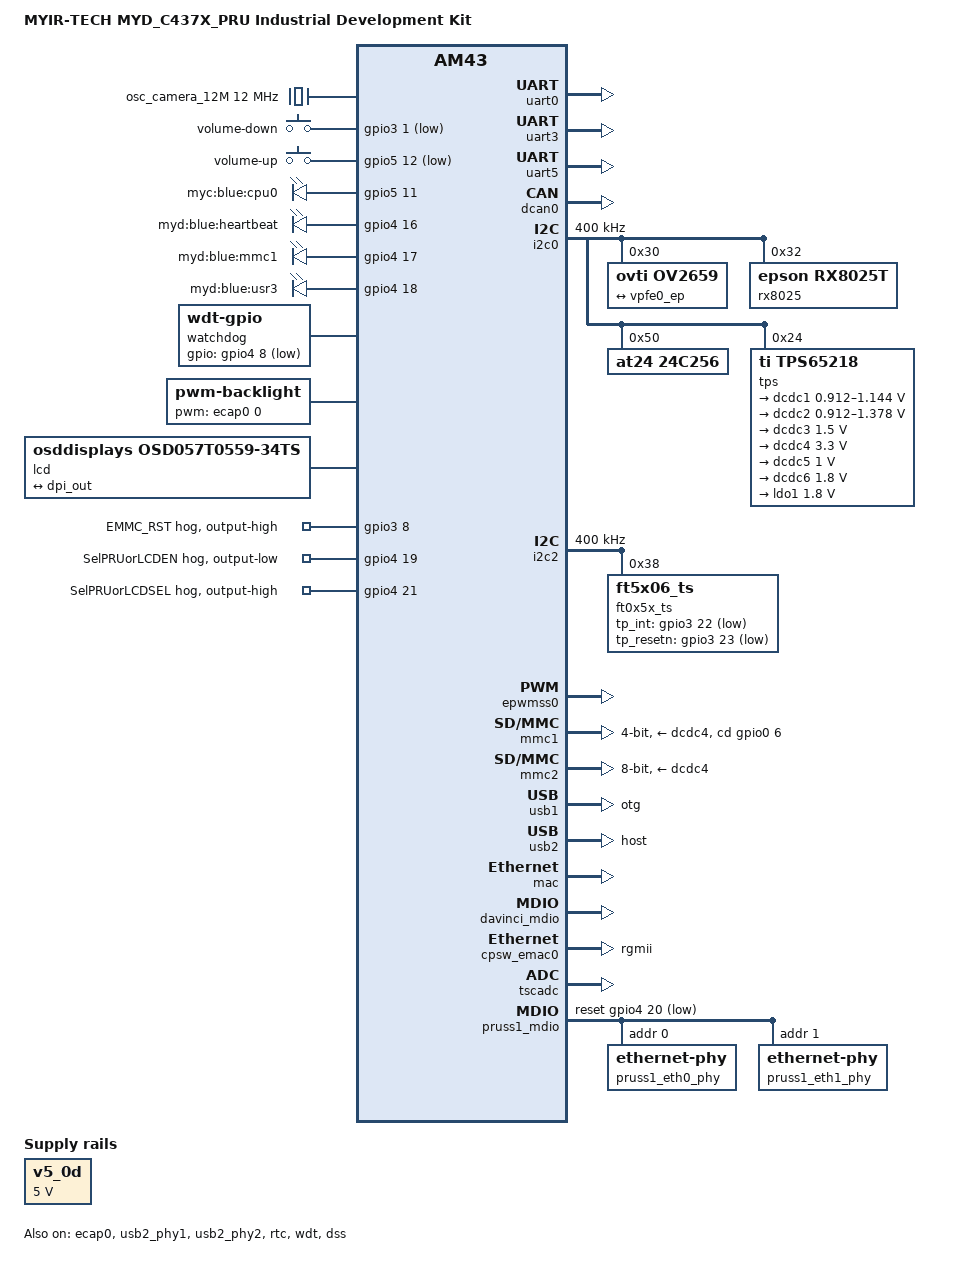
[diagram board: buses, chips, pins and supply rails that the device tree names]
/*
 * Copyright (C) 2014 Texas Instruments Incorporated - http://www.ti.com/
 *
 * This program is free software; you can redistribute it and/or modify
 * it under the terms of the GNU General Public License version 2 as
 * published by the Free Software Foundation.
 */

/dts-v1/;

#include "am4372.dtsi"
#include <dt-bindings/pinctrl/am43xx.h>
#include <dt-bindings/pwm/pwm.h>
#include <dt-bindings/gpio/gpio.h>
#include <dt-bindings/input/input.h>

/ {
	model = "MYIR-TECH MYD_C437X_PRU Industrial Development Kit";
	compatible = "ti,am437x-idk-evm","ti,am4372","ti,am43";

	aliases {
		display0 = &lcd0;
		ethernet2 = &pruss1_emac0;
		ethernet3 = &pruss1_emac1;
	};

	v5_0d: fixed-regulator-v5_0d {
		compatible = "regulator-fixed";
		regulator-name = "V5_0D";
		regulator-min-microvolt = <5000000>;
		regulator-max-microvolt = <5000000>;
		regulator-always-on;
		regulator-boot-on;
	};
	
	osc_camera_12M: osc_camera_12M {
	      #clock-cells = <0>;
	      compatible = "fixed-clock";
	      clock-frequency = <12000000>;
	};

	gpio_keys: volume_keys@0 {
		compatible = "gpio-keys";
//		pinctrl-names = "default";
//		pinctrl-0 = <&gpio_keys_pins_default>;
		#address-cells = <1>;
		#size-cells = <0>;
		autorepeat;

		switch@1 {
			label = "volume-down";
			linux,code = <114>;
			gpios = <&gpio3 1 GPIO_ACTIVE_LOW>;
			gpio-key,wakeup;
		};
		
		switch@2 {
			label = "volume-up";
			linux,code = <115>;
			gpios = <&gpio5 12 GPIO_ACTIVE_LOW>;
			gpio-key,wakeup;
		};		
	};

	leds {
		compatible = "gpio-leds";

		pinctrl-names = "default";
		pinctrl-0 = <&leds_pins>;
		led@0 {
			label = "myc:blue:cpu0";
			gpios = <&gpio5 11 GPIO_ACTIVE_HIGH>;	/* Bank 5, pin 11 */
			linux,default-trigger = "cpu0";
			default-state = "off";
		};

		led@1 {
			label = "myd:blue:heartbeat";
			gpios = <&gpio4 16 GPIO_ACTIVE_HIGH>;	/* Bank 4, pin 16 */
			linux,default-trigger = "heartbeat";
			default-state = "off";
		};

		led@2 {
			label = "myd:blue:mmc1";
			gpios = <&gpio4 17 GPIO_ACTIVE_HIGH>;	/* Bank 4, pin 17 */
			linux,default-trigger = "mmc0";
			default-state = "off";
		};


		led@3 {
			label = "myd:blue:usr3";
			gpios = <&gpio4 18 GPIO_ACTIVE_HIGH>;	/* Bank 4, pin 18 */
			default-state = "off";
		};
	};	

	watchdog: watchdog {
		/* CAT823T */
		compatible = "linux,wdt-gpio";
		pinctrl-names = "default";
		pinctrl-0 = <&watchdog_pins>;
		gpios = <&gpio4 8 GPIO_ACTIVE_LOW>;
		hw_algo = "toggle";
		always-running;
		hw_margin_ms = <1000>;
	};

	backlight {
		compatible = "pwm-backlight";
		pwms = <&ecap0 0 50000 PWM_POLARITY_INVERTED>;
		brightness-levels = <0 51 53 56 62 75 101 152 255>;
		default-brightness-level = <5>;
	};
	
	lcd0: display {
		compatible = "osddisplays,osd057T0559-34ts", "panel-dpi";
		label = "lcd";

		panel-timing {
			clock-frequency = <36000000>;
			hactive = <800>;
			vactive = <480>;
			hfront-porch = <210>;
			hback-porch = <1>;
			hsync-len = <43>;
			vback-porch = <1>;
			vfront-porch = <22>;
			vsync-len = <22>;
			hsync-active = <0>;
			vsync-active = <0>;
			de-active = <1>;
			pixelclk-active = <1>;
		};
		port {
			lcd_in: endpoint {
				remote-endpoint = <&dpi_out>;
			};
		};
	};
};

&am43xx_pinmux {
	pinctrl-names = "default", "sleep";
	pinctrl-0 = <&unused_pins_default  &gpio_keys_pins_default>;
	pinctrl-1 = <&unused_pins_sleep>;

    unused_pins_default: pinmux_unused_pins_default {
		pinctrl-single,pins = <
			0x2c4 ( PIN_INPUT_PULLDOWN | MUX_MODE7)  // usb1_drvvbus
			>;
        };

	unused_pins_sleep: pinmux_unused_pins_sleep {
		pinctrl-single,pins = <
			0x2c4 ( PIN_INPUT_PULLDOWN | MUX_MODE7)
			>;
        };

	gpio_keys_pins_default: gpio_keys_pins_default {
		pinctrl-single,pins = <
			0x10c ( PIN_INPUT_PULLUP | MUX_MODE7 ) /* (B14) mii1_crs.gpio3[1] */
			0x248 ( PIN_INPUT_PULLUP | MUX_MODE7 ) /* (E25) gpio5_12.gpio5[12] */
		>;
	};
	
	leds_pins: leds_pins {
		pinctrl-single,pins = <
			0x244 ( PIN_OUTPUT_PULLUP | MUX_MODE7 ) /* (F23) gpio5_11.gpio5[11] */
			0x1f0 ( PIN_OUTPUT_PULLUP | MUX_MODE7 ) /* (AD21) cam1_data2.gpio4[16] */
			0x1f4 ( PIN_OUTPUT_PULLUP | MUX_MODE7 ) /* (AE22) cam1_data3.gpio4[17] */
			0x1f8 ( PIN_OUTPUT_PULLUP | MUX_MODE7 ) /* (AD22) cam1_data4.gpio4[18] */
		>;
	};
	gpio3_pins: gpio3_pins_default {
		pinctrl-single,pins = <
		0x2a4 ( PIN_OUTPUT_PULLUP | MUX_MODE7 ) /* (N23) EMU1.gpio3[7] */
		0x2a8 ( PIN_OUTPUT | MUX_MODE7 ) /* (T24) EMU1.gpio3[8] */
		>;
	};

	gpio4_pins: gpio4_pins_default {
		pinctrl-single,pins = <
		0x1fc ( PIN_OUTPUT_PULLUP | MUX_MODE7 ) /* (AE23) cam1_data5.gpio4[19] */
		0x204 ( PIN_OUTPUT_PULLUP | MUX_MODE7 ) /* (AE24) cam1_data7.gpio4[21] */
		>;
	};
	
	watchdog_pins: pinmux_watchdog_pins{
		pinctrl-single,pins = <0x1d0 (PIN_OUTPUT_PULLDOWN | MUX_MODE7)>;
	};	
        
	i2c0_pins_default: i2c0_pins_default {
		pinctrl-single,pins = <
			0x188 (PIN_INPUT | SLEWCTRL_FAST | MUX_MODE0) /* i2c0_sda.i2c0_sda */
			0x18c (PIN_INPUT | SLEWCTRL_FAST | MUX_MODE0) /* i2c0_scl.i2c0_scl */
		>;
	};

	i2c0_pins_sleep: i2c0_pins_sleep {
		pinctrl-single,pins = <
			0x188 (PIN_INPUT_PULLDOWN | MUX_MODE7)
			0x18c (PIN_INPUT_PULLDOWN | MUX_MODE7)
		>;
	};

	i2c2_pins_default: i2c2_pins_default {
		pinctrl-single,pins = <
			0x1e8 (PIN_INPUT | SLEWCTRL_FAST | MUX_MODE3) /* cam1_data1.i2c2_scl */
			0x1ec (PIN_INPUT | SLEWCTRL_FAST | MUX_MODE3) /* cam1_data0.i2c2_sda */
		>;
	};

	i2c2_pins_sleep: i2c2_pins_sleep {
		pinctrl-single,pins = <
			0x1e8 (PIN_INPUT_PULLDOWN | MUX_MODE7)
			0x1ec (PIN_INPUT_PULLDOWN | MUX_MODE7)
		>;
	};

	uart0_pins_default: uart0_pins_default {
		pinctrl-single,pins = <
			0x170 ( PIN_INPUT | MUX_MODE0 ) /* (K25) uart0_rxd.uart0_rxd */
			0x174 ( PIN_OUTPUT | MUX_MODE0 ) /* (J24) uart0_txd.uart0_txd */
		>;
	};

	/* Optional sleep pin settings. Must manually enter values in the below skeleton. */
	uart0_pins_sleep: uart0_pins_sleep {
		pinctrl-single,pins = <
			0x170 (PIN_INPUT_PULLUP | MUX_MODE7 ) /* (K25) uart0_rxd.uart0_rxd */
			0x174 (PIN_INPUT_PULLUP | MUX_MODE7 ) /* (J24) uart0_txd.uart0_txd */
		>;
	};

	uart3_pins_default: uart3_pins_default {
		pinctrl-single,pins = <
			0x228 ( PIN_INPUT | MUX_MODE0 ) /* (H25) uart3_rxd.uart3_rxd */
			0x22c ( PIN_OUTPUT | MUX_MODE0 ) /* (H24) uart3_txd.uart3_txd */
			0x230 ( PIN_INPUT | MUX_MODE0 ) /* (H22) uart3_ctsn.uart3_ctsn */
			0x234 ( PIN_OUTPUT | MUX_MODE0 ) /* (K24) uart3_rtsn.uart3_rtsn */
		>;
	};

	/* Optional sleep pin settings. Must manually enter values in the below skeleton. */
	uart3_pins_sleep: uart3_pins_sleep {
		pinctrl-single,pins = <
			0x228 (PIN_INPUT_PULLUP | MUX_MODE7 ) /* (H25) uart3_rxd.uart3_rxd */
			0x22c (PIN_INPUT_PULLUP | MUX_MODE7 ) /* (H24) uart3_txd.uart3_txd */
			0x230 (PIN_INPUT_PULLUP | MUX_MODE7 ) /* (H22) uart3_ctsn.uart3_ctsn */
			0x234 (PIN_INPUT_PULLUP | MUX_MODE7 ) /* (K24) uart3_rtsn.uart3_rtsn */
		>;
	};
	
	uart5_pins_default: uart5_pins_default {
		pinctrl-single,pins = <
			0x110 ( PIN_OUTPUT | MUX_MODE7 ) /* (B13) mii1_rx_er.gpio3[2] */
			0x108 ( PIN_INPUT | MUX_MODE3 ) /* (D16) mii1_col.uart5_rxd */
			0x144 ( PIN_OUTPUT | MUX_MODE3 ) /* (A16) rmii1_ref_clk.uart5_txd */
		>;
	};

	/* Optional sleep pin settings. Must manually enter values in the below skeleton. */
	uart5_pins_sleep: uart5_pins_sleep {
		pinctrl-single,pins = <
			0x110 (PIN_INPUT_PULLUP | MUX_MODE7 ) /* (B13) mii1_rx_er.gpio3[2] */
			0x108 (PIN_INPUT_PULLUP | MUX_MODE7 ) /* (D16) mii1_col.uart5_rxd */
			0x144 (PIN_INPUT_PULLUP | MUX_MODE7 ) /* (A16) mii1_rx_dv.uart5_txd */
		>;
	};
	
	ft5x0x_pins_default: ft5x0x_pins_default {
		pinctrl-single,pins = <
			0x264 ( PIN_INPUT | MUX_MODE7 ) /* (P22) spi2_d0.gpio3[22] */
			0x268 ( PIN_OUTPUT_PULLUP | MUX_MODE7 ) /* (P20) spi2_d1.gpio3[23] */
		>;
	};

	dcan0_default: dcan0_default_pins {
		pinctrl-single,pins = <
			0x178 (PIN_OUTPUT | MUX_MODE2)		/* uart1_ctsn.d_can0_tx */
			0x17c (PIN_INPUT_PULLUP | MUX_MODE2)	/* uart1_rtsn.d_can0_rx */
		>;
	};

	dcan0_sleep: dcan0_sleep_pins {
		pinctrl-single,pins = <
			0x178 (PIN_INPUT_PULLUP | MUX_MODE7)	/* uart1_ctsn.gpio0_12 */
			0x17c (PIN_INPUT_PULLUP | MUX_MODE7)	/* uart1_rtsn.gpio0_13 */
		>;
	};


	usb1_pins_default: usb1_pins_default {
		pinctrl-single,pins = <
			0x2c0 (DS0_PULL_UP_DOWN_EN | PIN_INPUT_PULLDOWN | MUX_MODE0)
		>;
	};

	usb1_pins_sleep: usb1_pins_sleep {
		pinctrl-single,pins = <
			0x2c0 (DS0_PULL_UP_DOWN_EN | PIN_INPUT_PULLDOWN | MUX_MODE7)
		>;
	};
	
	mmc1_pins_default: pinmux_mmc1_pins_default {
		pinctrl-single,pins = <
			0x100 (PIN_INPUT | MUX_MODE0) /* mmc0_clk.mmc0_clk */
			0x104 (PIN_INPUT | MUX_MODE0) /* mmc0_cmd.mmc0_cmd */
			0xf0 (PIN_INPUT | MUX_MODE0) /* mmc0_dat3.mmc0_dat3 */
			0xf4 (PIN_INPUT | MUX_MODE0) /* mmc0_dat2.mmc0_dat2 */
			0xf8 (PIN_INPUT | MUX_MODE0) /* mmc0_dat1.mmc0_dat1 */
			0xfc (PIN_INPUT | MUX_MODE0) /* mmc0_dat0.mmc0_dat0 */
			0x160 (PIN_INPUT | MUX_MODE7) /* spi0_cs1.gpio0_6 */
		>;
	};

	mmc1_pins_sleep: pinmux_mmc1_pins_sleep {
		pinctrl-single,pins = <
			0x100 (PIN_INPUT_PULLDOWN | MUX_MODE7)
			0x104 (PIN_INPUT_PULLDOWN | MUX_MODE7)
			0xf0 (PIN_INPUT_PULLDOWN | MUX_MODE7)
			0xf4 (PIN_INPUT_PULLDOWN | MUX_MODE7)
			0xf8 (PIN_INPUT_PULLDOWN | MUX_MODE7)
			0xfc (PIN_INPUT_PULLDOWN | MUX_MODE7)
			0x160 (PIN_INPUT_PULLDOWN | MUX_MODE7)
		>;
	};

	emmc_pins_default: emmc_pins_default {
		pinctrl-single,pins = <
			0x80 ( PIN_INPUT_PULLUP | MUX_MODE2 ) /* (B9) gpmc_csn1.mmc1_clk */
			0x84 ( PIN_INPUT_PULLUP | MUX_MODE2 ) /* (F10) gpmc_csn2.mmc1_cmd */
			0x20 ( PIN_INPUT_PULLUP | MUX_MODE2 ) /* (B10) gpmc_ad8.mmc1_dat0 */
			0x24 ( PIN_INPUT_PULLUP | MUX_MODE2 ) /* (A10) gpmc_ad9.mmc1_dat1 */
			0x28 ( PIN_INPUT_PULLUP | MUX_MODE2 ) /* (F11) gpmc_ad10.mmc1_dat2 */
			0x2c ( PIN_INPUT_PULLUP | MUX_MODE2 ) /* (D11) gpmc_ad11.mmc1_dat3 */
			0x30 ( PIN_INPUT_PULLUP | MUX_MODE2 ) /* (E11) gpmc_ad12.mmc1_dat4 */
			0x34 ( PIN_INPUT_PULLUP | MUX_MODE2 ) /* (C11) gpmc_ad13.mmc1_dat5 */
			0x38 ( PIN_INPUT_PULLUP | MUX_MODE2 ) /* (B11) gpmc_ad14.mmc1_dat6 */
			0x3c ( PIN_INPUT_PULLUP | MUX_MODE2 ) /* (A11) gpmc_ad15.mmc1_dat7 */
		>;
	};

	emmc_pins_sleep: emmc_pins_sleep {
		pinctrl-single,pins = <
			0x80 (PIN_INPUT_PULLDOWN | MUX_MODE7) /* (B9) gpmc_csn1.mmc1_clk */
			0x84 (PIN_INPUT_PULLDOWN | MUX_MODE7) /* (F10) gpmc_csn2.mmc1_cmd */
			0x20 (PIN_INPUT_PULLDOWN | MUX_MODE7) /* (B10) gpmc_ad8.mmc1_dat0 */
			0x24 (PIN_INPUT_PULLDOWN | MUX_MODE7) /* (A10) gpmc_ad9.mmc1_dat1 */
			0x28 (PIN_INPUT_PULLDOWN | MUX_MODE7) /* (F11) gpmc_ad10.mmc1_dat2 */
			0x2c (PIN_INPUT_PULLDOWN | MUX_MODE7) /* (D11) gpmc_ad11.mmc1_dat3 */
			0x30 (PIN_INPUT_PULLDOWN | MUX_MODE7) /* (E11) gpmc_ad12.mmc1_dat4 */
			0x34 (PIN_INPUT_PULLDOWN | MUX_MODE7) /* (C11) gpmc_ad13.mmc1_dat5 */
			0x38 (PIN_INPUT_PULLDOWN | MUX_MODE7) /* (B11) gpmc_ad14.mmc1_dat6 */
			0x3c (PIN_INPUT_PULLDOWN | MUX_MODE7) /* (A11) gpmc_ad15.mmc1_dat7 */
		>;
	};


	ecap0_pins_default: backlight_pins_default {
		pinctrl-single,pins = <
			0x164 (PIN_OUTPUT | MUX_MODE0) /* ecap0_in_pwm0_out.ecap0_in_pwm0_out */
		>;
	};

	cpsw_default: cpsw_default {
		pinctrl-single,pins = <
			0x12c (PIN_OUTPUT_PULLDOWN | MUX_MODE2)	/* mii1_txclk.rgmii1_tclk */
			0x114 (PIN_OUTPUT_PULLDOWN | MUX_MODE2)	/* mii1_txen.rgmii1_tctl */
			0x128 (PIN_OUTPUT_PULLDOWN | MUX_MODE2)	/* mii1_txd0.rgmii1_td0 */
			0x124 (PIN_OUTPUT_PULLDOWN | MUX_MODE2)	/* mii1_txd1.rgmii1_td1 */
			0x120 (PIN_OUTPUT_PULLDOWN | MUX_MODE2)	/* mii1_txd0.rgmii1_td2 */
			0x11c (PIN_OUTPUT_PULLDOWN | MUX_MODE2)	/* mii1_txd1.rgmii1_td3 */
			0x130 (PIN_INPUT_PULLDOWN | MUX_MODE2)	/* mii1_rxclk.rmii1_rclk */
			0x118 (PIN_INPUT_PULLDOWN | MUX_MODE2)	/* mii1_rxdv.rgmii1_rctl */
			0x140 (PIN_INPUT_PULLDOWN | MUX_MODE2)	/* mii1_rxd0.rgmii1_rd0 */
			0x13c (PIN_INPUT_PULLDOWN | MUX_MODE2)	/* mii1_rxd1.rgmii1_rd1 */
			0x138 (PIN_INPUT_PULLDOWN | MUX_MODE2)	/* mii1_rxd0.rgmii1_rd2 */
			0x134 (PIN_INPUT_PULLDOWN | MUX_MODE2)	/* mii1_rxd1.rgmii1_rd3 */
		>;
	};

	cpsw_sleep: cpsw_sleep {
		pinctrl-single,pins = <
			0x12c (PIN_INPUT_PULLDOWN | MUX_MODE7)
			0x114 (PIN_INPUT_PULLDOWN | MUX_MODE7)
			0x128 (PIN_INPUT_PULLDOWN | MUX_MODE7)
			0x124 (PIN_INPUT_PULLDOWN | MUX_MODE7)
			0x120 (PIN_INPUT_PULLDOWN | MUX_MODE7)
			0x11c (PIN_INPUT_PULLDOWN | MUX_MODE7)
			0x130 (PIN_INPUT_PULLDOWN | MUX_MODE7)
			0x118 (PIN_INPUT_PULLDOWN | MUX_MODE7)
			0x140 (PIN_INPUT_PULLDOWN | MUX_MODE7)
			0x13c (PIN_INPUT_PULLDOWN | MUX_MODE7)
			0x138 (PIN_INPUT_PULLDOWN | MUX_MODE7)
			0x134 (PIN_INPUT_PULLDOWN | MUX_MODE7)
		>;
	};

	davinci_mdio_default: davinci_mdio_default {
		pinctrl-single,pins = <
			/* MDIO */
			0x148 (PIN_INPUT_PULLUP | SLEWCTRL_FAST | MUX_MODE0)	/* mdio_data.mdio_data */
			0x14c (PIN_OUTPUT_PULLUP | MUX_MODE0)			/* mdio_clk.mdio_clk */
		>;
	};

	davinci_mdio_sleep: davinci_mdio_sleep {
		pinctrl-single,pins = <
			/* MDIO reset value */
			0x148 (PIN_INPUT_PULLDOWN | MUX_MODE7)
			0x14c (PIN_INPUT_PULLDOWN | MUX_MODE7)
		>;
	};
	
	dss_pinctrl_default: dss_pinctrl_default {
		pinctrl-single,pins = <
			0x0A0 (PIN_OUTPUT_PULLUP | MUX_MODE0) /* DSS DATA 0 */
			0x0A4 (PIN_OUTPUT_PULLUP | MUX_MODE0)
			0x0A8 (PIN_OUTPUT_PULLUP | MUX_MODE0)
			0x0AC (PIN_OUTPUT_PULLUP | MUX_MODE0)
			0x0B0 (PIN_OUTPUT_PULLUP | MUX_MODE0)
			0x0B4 (PIN_OUTPUT_PULLUP | MUX_MODE0)
			0x0B8 (PIN_OUTPUT_PULLUP | MUX_MODE0)
			0x0BC (PIN_OUTPUT_PULLUP | MUX_MODE0)
			0x0C0 (PIN_OUTPUT_PULLUP | MUX_MODE0)
			0x0C4 (PIN_OUTPUT_PULLUP | MUX_MODE0)
			0x0C8 (PIN_OUTPUT_PULLUP | MUX_MODE0)
			0x0CC (PIN_OUTPUT_PULLUP | MUX_MODE0)
			0x0D0 (PIN_OUTPUT_PULLUP | MUX_MODE0)
			0x0D4 (PIN_OUTPUT_PULLUP | MUX_MODE0)
			0x0D8 (PIN_OUTPUT_PULLUP | MUX_MODE0)
			0x0DC (PIN_OUTPUT_PULLUP | MUX_MODE0) /* DSS DATA 15 */
			0x1CC (PIN_OUTPUT_PULLUP | MUX_MODE2) /* DSS DATA 16 */
			0x1C8 (PIN_OUTPUT_PULLUP | MUX_MODE2)
			0x1C4 (PIN_OUTPUT_PULLUP | MUX_MODE2)
			0x1C0 (PIN_OUTPUT_PULLUP | MUX_MODE2)
			0x1BC (PIN_OUTPUT_PULLUP | MUX_MODE2)
			0x1B8 (PIN_OUTPUT_PULLUP | MUX_MODE2)
			0x1B4 (PIN_OUTPUT_PULLUP | MUX_MODE2)
			0x1B0 (PIN_OUTPUT_PULLUP | MUX_MODE2) /* DSS DATA 23 */
			
			0x0E0 (PIN_OUTPUT_PULLUP | MUX_MODE0) /* DSS VSYNC */
			0x0E4 (PIN_OUTPUT_PULLUP | MUX_MODE0) /* DSS HSYNC */
			0x0E8 (PIN_OUTPUT_PULLUP | MUX_MODE0) /* DSS PCLK */
			0x0EC (PIN_OUTPUT_PULLUP | MUX_MODE0) /* DSS AC BIAS EN */
			0x238 (PIN_OUTPUT_PULLUP | MUX_MODE7) /* GPIO 5_8 to select LCD / HDMI */
		>;
	};

	dss_pinctrl_sleep: dss_pinctrl_sleep {
		pinctrl-single,pins = <
			0x0A0 (DS0_FORCE_OFF_MODE | DS0_PULL_UP_DOWN_EN | INPUT_EN | MUX_MODE7)
			0x0A4 (DS0_FORCE_OFF_MODE | DS0_PULL_UP_DOWN_EN | INPUT_EN | MUX_MODE7)
			0x0A8 (DS0_FORCE_OFF_MODE | DS0_PULL_UP_DOWN_EN | INPUT_EN | MUX_MODE7)
			0x0AC (DS0_FORCE_OFF_MODE | DS0_PULL_UP_DOWN_EN | INPUT_EN | MUX_MODE7)
			0x0B0 (DS0_FORCE_OFF_MODE | DS0_PULL_UP_DOWN_EN | INPUT_EN | MUX_MODE7)
			0x0B4 (DS0_FORCE_OFF_MODE | DS0_PULL_UP_DOWN_EN | INPUT_EN | MUX_MODE7)
			0x0B8 (DS0_FORCE_OFF_MODE | DS0_PULL_UP_DOWN_EN | INPUT_EN | MUX_MODE7)
			0x0BC (DS0_FORCE_OFF_MODE | DS0_PULL_UP_DOWN_EN | PULL_DISABLE | INPUT_EN | MUX_MODE7)
			0x0C0 (DS0_FORCE_OFF_MODE | DS0_PULL_UP_DOWN_EN | PULL_DISABLE | INPUT_EN | MUX_MODE7)
			0x0C4 (DS0_FORCE_OFF_MODE | DS0_PULL_UP_DOWN_EN | INPUT_EN | MUX_MODE7)
			0x0C8 (DS0_FORCE_OFF_MODE | DS0_PULL_UP_DOWN_EN | PULL_DISABLE | INPUT_EN | MUX_MODE7)
			0x0CC (DS0_FORCE_OFF_MODE | DS0_PULL_UP_DOWN_EN | PULL_DISABLE | INPUT_EN | MUX_MODE7)
			0x0D0 (DS0_FORCE_OFF_MODE | DS0_PULL_UP_DOWN_EN | INPUT_EN | MUX_MODE7)
			0x0D4 (DS0_FORCE_OFF_MODE | DS0_PULL_UP_DOWN_EN | INPUT_EN | MUX_MODE7)
			0x0D8 (DS0_FORCE_OFF_MODE | DS0_PULL_UP_DOWN_EN | PULL_DISABLE | INPUT_EN | MUX_MODE7)
			0x0DC (DS0_FORCE_OFF_MODE | DS0_PULL_UP_DOWN_EN | PULL_DISABLE | INPUT_EN | MUX_MODE7)
			0x1CC (PIN_INPUT_PULLUP | MUX_MODE7)
			0x1C8 (PIN_INPUT_PULLUP | MUX_MODE7)
			0x1C4 (PIN_INPUT_PULLUP | MUX_MODE7)
			0x1C0 (PIN_INPUT_PULLUP | MUX_MODE7)
			0x1BC (PIN_INPUT_PULLUP | MUX_MODE7)
			0x1B8 (PIN_INPUT_PULLUP | MUX_MODE7)
			0x1B4 (PIN_INPUT_PULLUP | MUX_MODE7)
			0x1B0 (PIN_INPUT_PULLUP | MUX_MODE7)
			0x0E0 (DS0_FORCE_OFF_MODE | DS0_PULL_UP_DOWN_EN | PULL_DISABLE | INPUT_EN | MUX_MODE7)
			0x0E4 (DS0_FORCE_OFF_MODE | DS0_PULL_UP_DOWN_EN | PULL_DISABLE | INPUT_EN | MUX_MODE7)
			0x0E8 (DS0_FORCE_OFF_MODE | DS0_PULL_UP_DOWN_EN | INPUT_EN | MUX_MODE7)
			0x0EC (DS0_FORCE_OFF_MODE | DS0_PULL_UP_DOWN_EN | PULL_DISABLE | INPUT_EN | MUX_MODE7)
			0x238 (DS0_PULL_UP_DOWN_EN | INPUT_EN | MUX_MODE7)
		>;
	};
	
	vpfe0_pins_default: vpfe0_pins_default {
		pinctrl-single,pins = <
			/*0x270 (PIN_OUTPUT_PULLUP | MUX_MODE3) */  /* xdma_event_intr0.clkout1 mode 3*/
			0x1B0 (PIN_INPUT_PULLUP | MUX_MODE0)  /* cam0_hd mode 0*/
			0x1B4 (PIN_INPUT_PULLUP | MUX_MODE0)  /* cam0_vd mode 0*/
			0x1B8 (PIN_INPUT_PULLUP | MUX_MODE0)  /* cam0_field mode 0*/
			0x1BC (PIN_INPUT_PULLUP | MUX_MODE0)  /* cam0_wen mode 0*/
			0x1C0 (PIN_INPUT_PULLUP | MUX_MODE0)  /* cam0_pclk mode 0*/
			0x1C4 (PIN_INPUT_PULLUP | MUX_MODE0)  /* cam0_data8 mode 0*/
			0x1C8 (PIN_INPUT_PULLUP | MUX_MODE0)  /* cam0_data9 mode 0*/
			0x208 (PIN_INPUT_PULLUP | MUX_MODE0)  /* cam0_data0 mode 0*/
			0x20C (PIN_INPUT_PULLUP | MUX_MODE0)  /* cam0_data1 mode 0*/
			0x210 (PIN_INPUT_PULLUP | MUX_MODE0)  /* cam0_data2 mode 0*/
			0x214 (PIN_INPUT_PULLUP | MUX_MODE0)  /* cam0_data3 mode 0*/
			0x218 (PIN_INPUT_PULLUP | MUX_MODE0)  /* cam0_data4 mode 0*/
			0x21C (PIN_INPUT_PULLUP | MUX_MODE0)  /* cam0_data5 mode 0*/
			0x220 (PIN_INPUT_PULLUP | MUX_MODE0)  /* cam0_data6 mode 0*/
			0x224 (PIN_INPUT_PULLUP | MUX_MODE0)  /* cam0_data7 mode 0*/
			>;
	};

	vpfe0_pins_sleep: vpfe0_pins_sleep {
		pinctrl-single,pins = <
			0x1B0 (DS0_PULL_UP_DOWN_EN | INPUT_EN | MUX_MODE7)  /* cam0_hd mode 0*/
			0x1B4 (DS0_PULL_UP_DOWN_EN | INPUT_EN | MUX_MODE7)  /* cam0_vd mode 0*/
			0x1B8 (DS0_PULL_UP_DOWN_EN | INPUT_EN | MUX_MODE7)  /* cam0_field mode 0*/
			0x1BC (DS0_PULL_UP_DOWN_EN | INPUT_EN | MUX_MODE7)  /* cam0_wen mode 0*/
			0x1C0 (DS0_PULL_UP_DOWN_EN | INPUT_EN | MUX_MODE7)  /* cam0_pclk mode 0*/
			0x1C4 (DS0_PULL_UP_DOWN_EN | INPUT_EN | MUX_MODE7)  /* cam0_data8 mode 0*/
			0x1C8 (DS0_PULL_UP_DOWN_EN | INPUT_EN | MUX_MODE7)  /* cam0_data9 mode 0*/
			0x208 (DS0_PULL_UP_DOWN_EN | INPUT_EN | MUX_MODE7)  /* cam0_data0 mode 0*/
			0x20C (DS0_PULL_UP_DOWN_EN | INPUT_EN | MUX_MODE7)  /* cam0_data1 mode 0*/
			0x210 (DS0_PULL_UP_DOWN_EN | INPUT_EN | MUX_MODE7)  /* cam0_data2 mode 0*/
			0x214 (DS0_PULL_UP_DOWN_EN | INPUT_EN | MUX_MODE7)  /* cam0_data3 mode 0*/
			0x218 (DS0_PULL_UP_DOWN_EN | INPUT_EN | MUX_MODE7)  /* cam0_data4 mode 0*/
			0x21C (DS0_PULL_UP_DOWN_EN | INPUT_EN | MUX_MODE7)  /* cam0_data5 mode 0*/
			0x220 (DS0_PULL_UP_DOWN_EN | INPUT_EN | MUX_MODE7)  /* cam0_data6 mode 0*/
			0x224 (DS0_PULL_UP_DOWN_EN | INPUT_EN | MUX_MODE7)  /* cam0_data7 mode 0*/
			>;
	};
	
	camera0_pins_default: camera0_pins_default {
		pinctrl-single,pins = <
			0x278 ( PIN_OUTPUT_PULLUP | MUX_MODE7 ) /* (H20) clkreq.gpio0[24] */
			0x260 ( PIN_OUTPUT_PULLUP | MUX_MODE7 ) /* (N20) spi2_sclk.gpio3[24] */
			>;
	};

	camera0_pins_sleep: camera0_pins_sleep {
		pinctrl-single,pins = <
			0x278 ( PIN_INPUT_PULLUP | MUX_MODE7 ) /* (H20) clkreq.gpio0[24] */
			0x260 ( PIN_INPUT_PULLUP | MUX_MODE7 ) /* (N20) spi2_sclk.gpio3[24] */
			>;
	};
	
	pruss1_eth_default: pruss1_eth_default {
		pinctrl-single,pins = <
			0xa0 (PIN_INPUT | MUX_MODE2)	/* dss_data0.pr1_mii_mt0_clk */
			0xb4 (PIN_OUTPUT | MUX_MODE2)	/* dss_data5.pr1_mii0_txd0 */
			0xb0 (PIN_OUTPUT | MUX_MODE2)	/* dss_data4.pr1_mii0_txd1 */
			0xac (PIN_OUTPUT | MUX_MODE2)	/* dss_data3.pr1_mii0_txd2 */
			0xa8 (PIN_OUTPUT | MUX_MODE2)	/* dss_data2.pr1_mii0_txd3 */
			0xcc (PIN_INPUT | MUX_MODE5)	/* dss_data11.pr1_mii0_rxd0 */
			0xc8 (PIN_INPUT | MUX_MODE5)	/* dss_data10.pr1_mii0_rxd1 */
			0xc4 (PIN_INPUT | MUX_MODE5)	/* dss_data9.pr1_mii0_rxd2 */
			0xc0 (PIN_INPUT | MUX_MODE5)	/* dss_data8.pr1_mii0_rxd3 */
			0xa4 (PIN_OUTPUT | MUX_MODE2)	/* dss_data1.pr1_mii0_txen */
			0xd8 (PIN_INPUT | MUX_MODE5)	/* dss_data14.pr1_mii_mr0_clk */
			0xdc (PIN_INPUT | MUX_MODE5)	/* dss_data15.pr1_mii0_rxdv */
			0xd4 (PIN_INPUT | MUX_MODE5)	/* dss_data13.pr1_mii0_rxer */
			0xd0 (PIN_INPUT | MUX_MODE5)	/* dss_data12.pr1_mii0_rxlink */
			0x240 (PIN_INPUT | MUX_MODE5)	/* gpio5_10.pr1_mii0_crs */
			0x238 (PIN_INPUT | MUX_MODE5)	/* gpio5_8.pr1_mii0_col */
			
			0x58 (PIN_INPUT | MUX_MODE5)	/* gpmc_a6.pr1_mii_mt1_clk */
			0x54 (PIN_OUTPUT | MUX_MODE5)	/* gpmc_a5.pr1_mii1_txd0 */
			0x50 (PIN_OUTPUT | MUX_MODE5)	/* gpmc_a4.pr1_mii1_txd1 */
			0x4c (PIN_OUTPUT | MUX_MODE5)	/* gpmc_a3.pr1_mii1_txd2 */
			0x48 (PIN_OUTPUT | MUX_MODE5)	/* gpmc_a2.pr1_mii1_txd3 */
			0x6c (PIN_INPUT | MUX_MODE5)	/* gpmc_a11.pr1_mii1_rxd0 */
			0x68 (PIN_INPUT | MUX_MODE5)	/* gpmc_a10.pr1_mii1_rxd1 */
			0x64 (PIN_INPUT | MUX_MODE5)	/* gpmc_a9.pr1_mii1_rxd2 */
			0x60 (PIN_INPUT | MUX_MODE5)	/* gpmc_a8.pr1_mii1_rxd3 */
			0x40 (PIN_OUTPUT | MUX_MODE5)	/* gpmc_a0.pr1_mii1_txen */
			0x5c (PIN_INPUT | MUX_MODE5)	/* gpmc_a7.pr1_mii_mr1_clk */
			0x44 (PIN_INPUT | MUX_MODE5)	/* gpmc_a1.pr1_mii1_rxdv */
			0x74 (PIN_INPUT | MUX_MODE5)	/* gpmc_wpn.pr1_mii1_rxer */
			0x24c (PIN_INPUT | MUX_MODE5)	/* gpio5_13.pr1_mii1_rxlink */
			0x70 ( PIN_INPUT | MUX_MODE5 ) /* (A2) gpmc_wait0.pr1_mii1_crs */
			0x78 (PIN_INPUT | MUX_MODE5)	/* gpmc_be1n.pr1_mii1_col */
		>;
	};

	pruss1_mdio_default: pruss1_mdio_default {
		pinctrl-single,pins = <
			0x274 ( PIN_OUTPUT | MUX_MODE8 ) /* (C24) xdma_event_intr1.pr1_mdio_mdclk */
			0x270 ( PIN_INPUT | MUX_MODE8 ) /* (D24) xdma_event_intr0.pr1_mdio_data */
			0x200 ( PIN_INPUT_PULLUP | MUX_MODE7 )	/* cam1_data6.gpio4_20 */
		>;
	};

	qspi_pins_default: qspi_pins_default {
		pinctrl-single,pins = <
			0x7c (PIN_OUTPUT_PULLUP | MUX_MODE3)	/* gpmc_csn0.qspi_csn */
			0x88 (PIN_OUTPUT | MUX_MODE2)		/* gpmc_csn3.qspi_clk */
			0x90 (PIN_INPUT_PULLUP | MUX_MODE3)	/* gpmc_advn_ale.qspi_d0 */
			0x94 (PIN_INPUT_PULLUP | MUX_MODE3)	/* gpmc_oen_ren.qspi_d1 */
			0x98 (PIN_INPUT_PULLUP | MUX_MODE3)	/* gpmc_wen.qspi_d2 */
			0x9c (PIN_INPUT_PULLUP | MUX_MODE3)	/* gpmc_be0n_cle.qspi_d3 */
		>;
	};

	qspi_pins_sleep: qspi_pins_sleep{
		pinctrl-single,pins = <
			0x7c (PIN_INPUT_PULLDOWN | MUX_MODE7)
			0x88 (PIN_INPUT_PULLDOWN | MUX_MODE7)
			0x90 (PIN_INPUT_PULLDOWN | MUX_MODE7)
			0x94 (PIN_INPUT_PULLDOWN | MUX_MODE7)
			0x98 (PIN_INPUT_PULLDOWN | MUX_MODE7)
			0x9c (PIN_INPUT_PULLDOWN | MUX_MODE7)
		>;
	};
};

&uart0 {
	status = "okay";
	pinctrl-names = "default", "sleep";
	pinctrl-0 = <&uart0_pins_default>;
	pinctrl-1 = <&uart0_pins_sleep>;
};

&uart3 {
	status = "okay";
	pinctrl-names = "default", "sleep";
	pinctrl-0 = <&uart3_pins_default>;
	pinctrl-1 = <&uart3_pins_sleep>;
};

&uart5 {
	status = "okay";
	pinctrl-names = "default", "sleep";
	pinctrl-0 = <&uart5_pins_default>;
	pinctrl-1 = <&uart5_pins_sleep>;
	rts-gpio = <&gpio3 2 GPIO_ACTIVE_HIGH>;
	rs485-rts-active-high;
//	rs485-rx-during-tx;
	rs485-rts-delay = <1 1>;
	linux,rs485-enabled-at-boot-time;
};

&dcan0 {
	pinctrl-names = "default", "sleep";
	pinctrl-0 = <&dcan0_default>;
	pinctrl-1 = <&dcan0_sleep>;
	status = "okay";
};

&i2c0 {
	status = "okay";
	pinctrl-names = "default", "sleep";
	pinctrl-0 = <&i2c0_pins_default>;
	pinctrl-1 = <&i2c0_pins_sleep>;
	clock-frequency = <400000>;

	ov2659@30 {
		status="okay";
		compatible = "ovti,ov2659";
		reg = <0x30>;
		pinctrl-names = "default", "sleep";
		pinctrl-0 = <&camera0_pins_default>;
		pinctrl-1 = <&camera0_pins_sleep>;

//		clocks = <&audio_mstrclk>;
		clocks = <&osc_camera_12M>;
		
		clock-names = "xvclk";

		port {
			ov2659_1: endpoint {
				remote-endpoint = <&vpfe0_ep>;
				link-frequencies = /bits/ 64 <70000000>;
			};
		};
	};
	
	rx8025: rx8025@32 {
		compatible = "epson,rx8025t";
		reg = <0x32>;
	};


	at24@50 {
		compatible = "at24,24c256";
		pagesize = <64>;
		reg = <0x50>;
	};

	tps@24 {
		compatible = "ti,tps65218";
		reg = <0x24>;
		interrupts = <GIC_SPI 7 IRQ_TYPE_LEVEL_HIGH>;
		interrupt-controller;
		#interrupt-cells = <2>;

		dcdc1: regulator-dcdc1 {
			compatible = "ti,tps65218-dcdc1";
			/* VDD_CORE limits min of OPP50 and max of OPP100 */
			regulator-name = "vdd_core";
			regulator-min-microvolt = <912000>;
			regulator-max-microvolt = <1144000>;
			regulator-boot-on;
			regulator-always-on;
		};

		dcdc2: regulator-dcdc2 {
			compatible = "ti,tps65218-dcdc2";
			/* VDD_MPU limits min of OPP50 and max of OPP_NITRO */
			regulator-name = "vdd_mpu";
			regulator-min-microvolt = <912000>;
			regulator-max-microvolt = <1378000>;
			regulator-boot-on;
			regulator-always-on;
		};

		dcdc3: regulator-dcdc3 {
			compatible = "ti,tps65218-dcdc3";
			regulator-name = "vdds_ddr";
			regulator-min-microvolt = <1500000>;
			regulator-max-microvolt = <1500000>;
			regulator-boot-on;
			regulator-always-on;
			regulator-state-mem {
				regulator-on-in-suspend;
			};
			regulator-state-disk {
				regulator-off-in-suspend;
			};
		};

		dcdc4: regulator-dcdc4 {
			compatible = "ti,tps65218-dcdc4";
			regulator-name = "v3_3d";
			regulator-min-microvolt = <3300000>;
			regulator-max-microvolt = <3300000>;
			regulator-boot-on;
			regulator-always-on;
		};

		dcdc5: regulator-dcdc5 {
			compatible = "ti,tps65218-dcdc5";
			regulator-name = "v1_0bat";
			regulator-min-microvolt = <1000000>;
			regulator-max-microvolt = <1000000>;
			regulator-boot-on;
			regulator-always-on;
			regulator-state-mem {
				regulator-on-in-suspend;
			};
		};

		dcdc6: regulator-dcdc6 {
			compatible = "ti,tps65218-dcdc6";
			regulator-name = "v1_8bat";
			regulator-min-microvolt = <1800000>;
			regulator-max-microvolt = <1800000>;
			regulator-boot-on;
			regulator-always-on;
			regulator-state-mem {
				regulator-on-in-suspend;
			};
		};

		ldo1: regulator-ldo1 {
			compatible = "ti,tps65218-ldo1";
			regulator-name = "v1_8d";
			regulator-min-microvolt = <1800000>;
			regulator-max-microvolt = <1800000>;
			regulator-boot-on;
			regulator-always-on;
		};

		power-button {
			compatible = "ti,tps65218-pwrbutton";
			status = "okay";
			interrupts = <3 IRQ_TYPE_EDGE_BOTH>;
		};
	};

};

&i2c2 {
	status = "okay";
	pinctrl-names = "default", "sleep";
	pinctrl-0 = <&i2c2_pins_default>;
	pinctrl-1 = <&i2c2_pins_sleep>;
	clock-frequency = <400000>;
	
	ft0x5x_ts@38 {
	        compatible = "ft5x06_ts";
		pinctrl-names = "default";
		pinctrl-0 = <&ft5x0x_pins_default>;
	        reg = <0x38>;
	        tp_int = <&gpio3 22 1>;
	        tp_resetn = <&gpio3 23 1>;
	        polling_mode = /bits/ 8 <0>;
	        multi_touch = /bits/ 8 <0>;
	    };
};

&epwmss0 {
	status = "okay";
};

&ecap0 {
	status = "okay";
	pinctrl-names = "default";
	pinctrl-0 = <&ecap0_pins_default>;
};

&gpio0 {
	status = "okay";
};

&gpio1 {
	status = "okay";
};

&gpio3 {
	pinctrl-names = "default";
	pinctrl-0 = <&gpio3_pins>;
	status = "okay";

//	p2 {
//		gpio-hog;
//		gpios = <2 GPIO_ACTIVE_HIGH>;
//		output-high;
//		line-name = "RS485_EN";
//	};
	/* RS485_EN enable 
	 * P2	| FUNCTION 
	 *------|-----------
	 * LOW	|   RS485 transmitter EN
	 * 
	 * When changing this line make sure the newly
	 * selected device node is enabled and the previously
	 * selected device node is disabled.
	 */

	p8 {
		gpio-hog;
		gpios = <8 GPIO_ACTIVE_HIGH>;
		output-high;
		line-name = "EMMC_RST";
	};
};

&gpio4 {
	pinctrl-names = "default";
	pinctrl-0 = <&gpio4_pins>;
	status = "okay";

	p19 {
		gpio-hog;
		gpios = <19 GPIO_ACTIVE_HIGH>;
		output-low;
		line-name = "SelPRUorLCDEN";
	};
	p21 {
		gpio-hog;
		gpios = <21 GPIO_ACTIVE_HIGH>;
		output-high;
		line-name = "SelPRUorLCDSEL";
	};
	/* SelPRUorLCDEN enable selects between PRU_ETH and LCD :
	 * P19(OE)	| P21 (SEL)	| FUNCTION 
	 *----------|-----------|----------
	 * LOW		|    LOW	|  PRU_ETH
	 * LOW		|	HIGHT	|	LCD
	 * HIGH		|	ANY		|	NONE
	 * 
	 * When changing this line make sure the newly
	 * selected device node is enabled and the previously
	 * selected device node is disabled.
	 */
};

&gpio5 {
	status = "okay";
};

&mmc1 {
	status = "okay";
	pinctrl-names = "default", "sleep";
	pinctrl-0 = <&mmc1_pins_default>;
	pinctrl-1 = <&mmc1_pins_sleep>;
	vmmc-supply = <&dcdc4>;
	bus-width = <4>;
	cd-gpios = <&gpio0 6 GPIO_ACTIVE_HIGH>;
};

/* eMMC sits on mmc2 */
&mmc2 {
	status = "ok";
	vmmc-supply = <&dcdc4>;
	bus-width = <8>;
	pinctrl-names = "default", "sleep";
	pinctrl-0 = <&emmc_pins_default>;
	pinctrl-1 = <&emmc_pins_sleep>;
	ti,non-removable;
};


&usb2_phy1 {
	status = "okay";
};

&usb1 {
	pinctrl-names = "default", "sleep";
	pinctrl-0 = <&usb1_pins_default>;
	pinctrl-1 = <&usb1_pins_sleep>;
	dr_mode = "otg";
	status = "okay";
};

&usb2_phy2 {
	status = "okay";
};

&usb2 {
	dr_mode = "host";
	status = "okay";
};

&qspi {
	status = "disabled";
	pinctrl-names = "default", "sleep";
	pinctrl-0 = <&qspi_pins_default>;
	pinctrl-1 = <&qspi_pins_sleep>;

	spi-max-frequency = <48000000>;
	m25p80@0 {
		compatible = "mx66l51235l";
		spi-max-frequency = <48000000>;
		reg = <0>;
		spi-cpol;
		spi-cpha;
		spi-tx-bus-width = <1>;
		spi-rx-bus-width = <4>;
		#address-cells = <1>;
		#size-cells = <1>;

		/*
		 * MTD partition table.  The ROM checks the first 512KiB for a
		 * valid file to boot(XIP).
		 */
		partition@0 {
			label = "QSPI.U_BOOT";
			reg = <0x00000000 0x000080000>;
		};
		partition@1 {
			label = "QSPI.U_BOOT.backup";
			reg = <0x00080000 0x00080000>;
		};
		partition@2 {
			label = "QSPI.U-BOOT-SPL_OS";
			reg = <0x00100000 0x00010000>;
		};
		partition@3 {
			label = "QSPI.U_BOOT_ENV";
			reg = <0x00110000 0x00010000>;
		};
		partition@4 {
			label = "QSPI.U-BOOT-ENV.backup";
			reg = <0x00120000 0x00010000>;
		};
		partition@5 {
			label = "QSPI.KERNEL";
			reg = <0x00130000 0x0800000>;
		};
		partition@6 {
			label = "QSPI.FILESYSTEM";
			reg = <0x00930000 0x36D0000>;
		};
	};
};

&mac {
	pinctrl-names = "default", "sleep";
	pinctrl-0 = <&cpsw_default>;
	pinctrl-1 = <&cpsw_sleep>;
	status = "okay";
};

&davinci_mdio {
	pinctrl-names = "default", "sleep";
	pinctrl-0 = <&davinci_mdio_default>;
	pinctrl-1 = <&davinci_mdio_sleep>;
	status = "okay";
};

&cpsw_emac0 {
	phy_id = <&davinci_mdio>, <4>;
	phy-mode = "rgmii";
};

&rtc {
	status = "okay";
	ext-clk-src;
};

&wdt {
	status = "okay";
};

&tscadc {
        status = "okay";
        tsc {
                ti,wires = <4>;
                ti,x-plate-resistance = <200>;
                ti,coordiante-readouts = <5>;
                ti,wire-config = <0x00 0x11 0x22 0x33>;
		ti,charge-delay = <0x800>;
        };

        adc {
                ti,adc-channels = <0 1 2 3>;
        };
};

&cpu {
	cpu0-supply = <&dcdc2>;
	ti,opp-disable-exception = <300000>;
};

&sgx {
	status = "disabled";
};

&dss {
	status = "ok";

	pinctrl-names = "default", "sleep";
	pinctrl-0 = <&dss_pinctrl_default>;
	pinctrl-1 = <&dss_pinctrl_sleep>;

	port {
		dpi_out: endpoint@0 {
			remote-endpoint = <&lcd_in>;
			data-lines = <24>;
		};
	};
};

&vpfe0 {
	status = "disabled";
	pinctrl-names = "default", "sleep";
	pinctrl-0 = <&vpfe0_pins_default>;
	pinctrl-1 = <&vpfe0_pins_sleep>;

	port {
		vpfe0_ep: endpoint {
			remote-endpoint = <&ov2659_1>;
			ti,am437x-vpfe-interface = <0>;
			bus-width = <8>;
			hsync-active = <0>;
			vsync-active = <0>;
		};
	};
};

&pruss1 {
	pruss1_mdio: mdio@54432400 {
		pinctrl-0 = <&pruss1_mdio_default>;
		pinctrl-names = "default";
		reset-gpios = <&gpio4 20 GPIO_ACTIVE_LOW>;
		status = "okay";

		pruss1_eth0_phy: ethernet-phy@0 {
			reg = <0>;
		};

		pruss1_eth1_phy: ethernet-phy@1 {
			reg = <1>;
		};
	};

	/* Dual mac ethernet application node on icss1 */
	pruss1_eth {
		compatible = "ti,am4372-prueth";
		pruss = <&pruss1>;
		sram = <&ocmcram_nocache>;
		status = "disabled";

		pinctrl-0 = <&pruss1_eth_default>;
		pinctrl-names = "default";

		pruss1_emac0: ethernet-mii0 {
			phy-handle = <&pruss1_eth0_phy>;
			phy-mode = "mii";
			sysevent-rx = <20>;	/* PRU_ARM_EVENT0 */
			/* Filled in by bootloader */
			local-mac-address = [00 00 00 00 00 00];
		};

		pruss1_emac1: ethernet-mii1 {
			phy-handle = <&pruss1_eth1_phy>;
			phy-mode = "mii";
			sysevent-rx = <21>;	/* PRU_ARM_EVENT1 */
			/* Filled in by bootloader */
			local-mac-address = [00 00 00 00 00 00];
		};
	};
};
